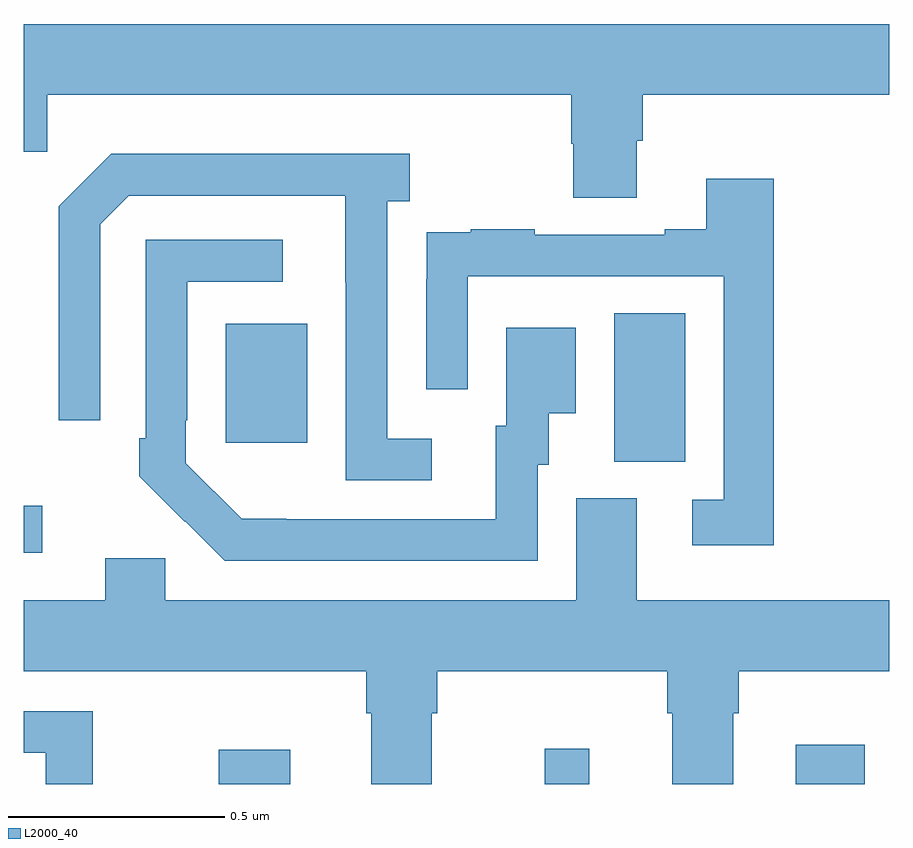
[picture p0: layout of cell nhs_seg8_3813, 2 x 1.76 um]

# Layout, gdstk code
import gdstk
lib = gdstk.Library(unit=1e-6, precision=1e-09)
def R(c, l, rs):  # rectangles x0, y0, x1, y1
    for r in rs: c.add(gdstk.rectangle(r[:2], r[2:], *l))
def P(c, l, *ps):  # polygons
    for p in ps: c.add(gdstk.Polygon(p, *l))
L2000_40 = (2000, 40)

nhs_seg8_3813 = lib.new_cell('nhs_seg8_3813')
R(nhs_seg8_3813, L2000_40, [(162.451,1122.9,162.616,1122.979), (163.204,1122.9,163.307,1122.982), (163.784,1122.9,163.943,1122.991), (162,1123.434,162.043,1123.543), (163.364,1123.645,163.528,1123.988), (162.467,1123.689,162.655,1123.963)])
P(nhs_seg8_3813, L2000_40, [(163.417,1124.386),(163.43,1124.386),(163.43,1124.492),(164,1124.492),(164,1124.656),(162,1124.656),(162,1124.361),(162.054,1124.361),(162.054,1124.492),(163.265,1124.492),(163.265,1124.379),(163.27,1124.379),(163.27,1124.254),(163.417,1124.254)],
  [(162.943,1123.698),(162.84,1123.698),(162.84,1124.246),(162.892,1124.246),(162.892,1124.356),(162.202,1124.356),(162.081,1124.235),(162.081,1123.74),(162.177,1123.74),(162.177,1124.193),(162.243,1124.259),(162.743,1124.259),(162.743,1124.059),(162.744,1124.059),(162.744,1123.602),(162.943,1123.602)],
  [(163.733,1124.299),(163.577,1124.299),(163.577,1124.182),(163.481,1124.182),(163.481,1124.169),(163.181,1124.169),(163.181,1124.182),(163.033,1124.182),(163.033,1124.175),(162.931,1124.175),(162.931,1124.066),(162.93,1124.066),(162.93,1123.812),(163.026,1123.812),(163.026,1124.073),(163.617,1124.073),(163.617,1123.557),(163.545,1123.557),(163.545,1123.452),(163.733,1123.452)],
  [(163.188,1123.638),(163.213,1123.638),(163.213,1123.757),(163.276,1123.757),(163.276,1123.954),(163.115,1123.954),(163.115,1123.728),(163.091,1123.728),(163.091,1123.512),(162.607,1123.512),(162.607,1123.513),(162.504,1123.513),(162.375,1123.641),(162.375,1123.741),(162.378,1123.741),(162.378,1124.061),(162.598,1124.061),(162.598,1124.157),(162.282,1124.157),(162.282,1123.699),(162.267,1123.699),(162.267,1123.611),(162.372,1123.506),(162.373,1123.507),(162.464,1123.416),(163.188,1123.416)],
  [(162.943,1123.064),(162.956,1123.064),(162.956,1123.16),(163.487,1123.16),(163.487,1123.064),(163.499,1123.064),(163.499,1122.9),(163.639,1122.9),(163.639,1123.064),(163.652,1123.064),(163.652,1123.16),(164,1123.16),(164,1123.324),(163.417,1123.324),(163.417,1123.56),(163.277,1123.56),(163.277,1123.324),(162.327,1123.324),(162.327,1123.422),(162.188,1123.422),(162.188,1123.324),(162,1123.324),(162,1123.16),(162.791,1123.16),(162.791,1123.064),(162.803,1123.064),(162.803,1122.9),(162.943,1122.9)],
  [(162.16,1123.068),(162,1123.068),(162,1122.972),(162.051,1122.972),(162.051,1122.9),(162.16,1122.9)])

lib.write_gds('nhs_seg8_3813.gds')
